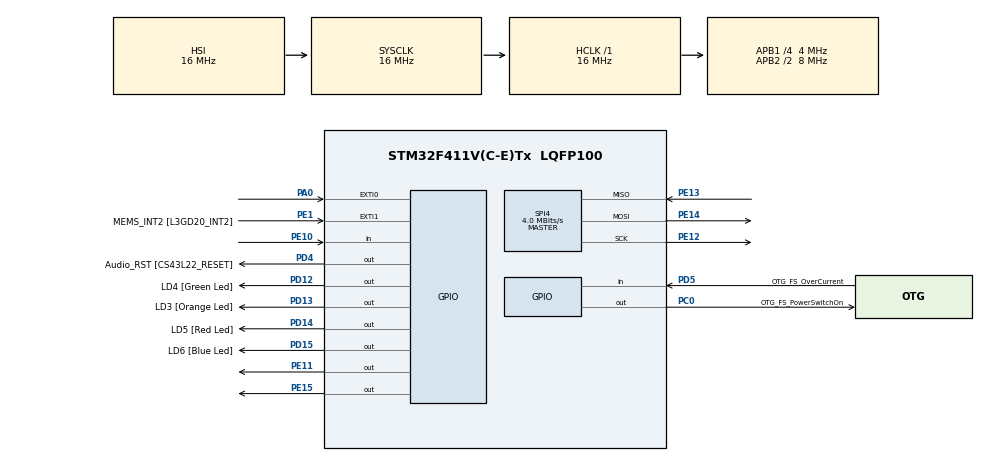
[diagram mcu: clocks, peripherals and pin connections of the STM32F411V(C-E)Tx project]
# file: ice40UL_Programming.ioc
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Mcu.Family=STM32F4
Mcu.Name=STM32F411V(C-E)Tx
Mcu.Package=LQFP100
NVIC.PriorityGroup=NVIC_PRIORITYGROUP_0
PA0-WKUP.GPIO_ModeDefaultEXTI=GPIO_MODE_EVT_RISING
PA0-WKUP.Signal=GPXTI0
PA10.GPIO_Label=OTG_FS_ID
PA10.Signal=USB_OTG_FS_ID
PA11.GPIO_Label=OTG_FS_DM
PA11.Signal=USB_OTG_FS_DM
PA12.GPIO_Label=OTG_FS_DP
PA12.Signal=USB_OTG_FS_DP
PA13.GPIO_Label=SWDIO
PA13.Mode=Serial_Wire
PA13.Signal=SYS_JTMS-SWDIO
PA14.GPIO_Label=SWCLK
PA14.Mode=Serial_Wire
PA14.Signal=SYS_JTCK-SWCLK
PA4.GPIO_Label=I2S3_WS [CS43L22_LRCK]
PA4.GPIO_Mode=GPIO_MODE_AF_PP
PA4.GPIO_PuPd=GPIO_NOPULL
PA4.GPIO_Speed=GPIO_SPEED_FREQ_LOW
PA4.Signal=I2S3_WS
PA5.GPIO_Label=SPI1_SCK [L3GD20_SC/SPC]
PA5.Signal=SPI1_SCK
PA6.GPIO_Label=SPI1_MISO [L3GD20_AS0/SDO]
PA6.Signal=SPI1_MISO
PA7.GPIO_Label=SPI1_MOSI [L3GD20_SDA/SDI/SDO]
PA7.Signal=SPI1_MOSI
PA9.GPIO_Label=VBUS_FS
PA9.Signal=USB_OTG_FS_VBUS
PB10.GPIO_Label=CLK_IN [MP45DT02_CLK]
PB10.Signal=I2S2_CK
PB12.Signal=I2S2_WS
PB3.GPIO_Label=SWO
PB3.Signal=SYS_JTDO-SWO
PB6.GPIO_Label=Audio_SCL [CS43L22_SCL]
PB6.GPIO_Mode=GPIO_MODE_AF_OD
PB6.GPIO_PuPd=GPIO_NOPULL
PB6.GPIO_Speed=GPIO_SPEED_FREQ_LOW
PB6.Signal=I2C1_SCL
PB9.GPIO_Label=Audio_SDA [CS43L22_SDA]
PB9.GPIO_Mode=GPIO_MODE_AF_OD
PB9.GPIO_PuPd=GPIO_NOPULL
PB9.GPIO_Speed=GPIO_SPEED_FREQ_LOW
PB9.Signal=I2C1_SDA
PC0.GPIO_Label=OTG_FS_PowerSwitchOn
PC0.PinState=GPIO_PIN_SET
PC0.Signal=GPIO_Output
PC10.GPIO_Label=I2S3_SCK [CS43L22_SCLK]
PC10.GPIO_Mode=GPIO_MODE_AF_PP
PC10.GPIO_PuPd=GPIO_NOPULL
PC10.GPIO_Speed=GPIO_SPEED_FREQ_LOW
PC10.Signal=I2S3_CK
PC12.GPIO_Label=I2S3_SD [CS43L22_SDIN]
PC12.GPIO_Mode=GPIO_MODE_AF_PP
PC12.GPIO_PuPd=GPIO_NOPULL
PC12.GPIO_Speed=GPIO_SPEED_FREQ_LOW
PC12.Signal=I2S3_SD
PC14-OSC32_IN.GPIO_Label=PC14-OSC32_IN
PC14-OSC32_IN.Signal=RCC_OSC32_IN
PC15-OSC32_OUT.GPIO_Label=PC15-OSC32_OUT
PC15-OSC32_OUT.Signal=RCC_OSC32_OUT
PC3.GPIO_Label=PDM_OUT [MP45DT02_DOUT]
PC3.Signal=I2S2_SD
PC7.GPIO_Label=I2S3_MCK [CS43L22_MCLK]
PC7.GPIO_Mode=GPIO_MODE_AF_PP
PC7.GPIO_PuPd=GPIO_NOPULL
PC7.GPIO_Speed=GPIO_SPEED_FREQ_LOW
PC7.Signal=I2S3_MCK
PD12.GPIO_Label=LD4 [Green Led]
PD12.GPIO_PuPd=GPIO_NOPULL
PD12.GPIO_Speed=GPIO_SPEED_FREQ_LOW
PD12.Signal=GPIO_Output
PD13.GPIO_Label=LD3 [Orange Led]
PD13.GPIO_PuPd=GPIO_NOPULL
PD13.GPIO_Speed=GPIO_SPEED_FREQ_LOW
PD13.Signal=GPIO_Output
PD14.GPIO_Label=LD5 [Red Led]
PD14.GPIO_PuPd=GPIO_NOPULL
PD14.GPIO_Speed=GPIO_SPEED_FREQ_LOW
PD14.Signal=GPIO_Output
PD15.GPIO_Label=LD6 [Blue Led]
PD15.GPIO_PuPd=GPIO_NOPULL
PD15.GPIO_Speed=GPIO_SPEED_FREQ_LOW
PD15.Signal=GPIO_Output
PD4.GPIO_Label=Audio_RST [CS43L22_RESET]
PD4.Signal=GPIO_Output
PD5.GPIO_Label=OTG_FS_OverCurrent
PD5.Signal=GPIO_Input
PE1.GPIO_Label=MEMS_INT2 [L3GD20_INT2]
PE1.GPIO_ModeDefaultEXTI=GPIO_MODE_EVT_RISING
PE1.Signal=GPXTI1
PE10.Signal=GPIO_Input
PE11.Signal=GPIO_Output
PE12.Mode=Full_Duplex_Master
PE12.Signal=SPI4_SCK
PE13.Mode=Full_Duplex_Master
PE13.Signal=SPI4_MISO
PE14.Mode=Full_Duplex_Master
PE14.Signal=SPI4_MOSI
PE15.Signal=GPIO_Output
PE2.Signal=SYS_TRACECLK
PE3.Signal=SYS_TRACED0
PE4.Signal=SYS_TRACED1
PE5.Signal=SYS_TRACED2
PH0\ -\ OSC_IN.GPIO_Label=PH0-OSC_IN
PH0\ -\ OSC_IN.Signal=RCC_OSC_IN
PH1\ -\ OSC_OUT.GPIO_Label=PH1-OSC_OUT
PH1\ -\ OSC_OUT.Signal=RCC_OSC_OUT
ProjectManager.HeapSize=0x200
ProjectManager.StackSize=0x400
ProjectManager.TargetToolchain=STM32CubeIDE
RCC.48MHZClocksFreq_Value=48000000
RCC.AHBFreq_Value=16000000
RCC.APB1CLKDivider=RCC_HCLK_DIV4
RCC.APB1Freq_Value=4000000
RCC.APB1TimFreq_Value=8000000
RCC.APB2CLKDivider=RCC_HCLK_DIV2
RCC.APB2Freq_Value=8000000
RCC.APB2TimFreq_Value=16000000
RCC.CortexFreq_Value=16000000
RCC.HCLKFreq_Value=16000000
RCC.HSE_VALUE=8000000
RCC.HSI_VALUE=16000000
RCC.LSE_VALUE=32768
RCC.PLLI2SM=5
RCC.PLLI2SN=200
RCC.PLLM=8
RCC.PLLP=RCC_PLLP_DIV4
RCC.PLLQ=8
RCC.SYSCLKFreq_VALUE=16000000
RCC.VCOOutputFreq_Value=384000000
SPI4.CalculateBaudRate=4.0 MBits/s
SPI4.Direction=SPI_DIRECTION_2LINES
SPI4.Mode=SPI_MODE_MASTER
SPI4.VirtualType=VM_MASTER
board=STM32F411E-DISCO

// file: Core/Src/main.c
/* USER CODE BEGIN Header */
/**
  ******************************************************************************
  * @file           : main.c
  * @brief          : Main program body
  ******************************************************************************
  * @attention
  *
  * Copyright (c) 2024 STMicroelectronics.
  * All rights reserved.
  *
  * This software is licensed under terms that can be found in the LICENSE file
  * in the root directory of this software component.
  * If no LICENSE file comes with this software, it is provided AS-IS.
  *
  ******************************************************************************
  */
/* USER CODE END Header */
#include "main.h"

/* USER CODE BEGIN Includes */
#include <stdio.h>
#include "data.h"
/* USER CODE END Includes */

SPI_HandleTypeDef hspi4;

void SystemClock_Config(void);
static void MX_GPIO_Init(void);
static void MX_SPI4_Init(void);

int main(void)
{

  /* MCU Configuration--------------------------------------------------------*/

  /* Reset of all peripherals, Initializes the Flash interface and the Systick. */
  HAL_Init();

  /* Configure the system clock */
  SystemClock_Config();

  /* Initialize all configured peripherals */
  MX_GPIO_Init();
  MX_SPI4_Init();

  /* Infinite loop */
  /* USER CODE BEGIN WHILE */
  while (1)
  {
	  //PE11 is CRESETB
	  //PE15 is CS
	  //PE10 start programming pin

	  uint8_t tx_data[1] = {0xFF};
	  GPIO_PinState pinState = HAL_GPIO_ReadPin(GPIOE, GPIO_PIN_10);
	  if (pinState==GPIO_PIN_SET){
		  printf("ice40 Programming is On-going....\n");
		   HAL_GPIO_WritePin(GPIOE, GPIO_PIN_15, GPIO_PIN_SET);
		   HAL_GPIO_WritePin(GPIOE, GPIO_PIN_11, GPIO_PIN_SET);
		   HAL_Delay(1);
		   HAL_GPIO_WritePin(GPIOE, GPIO_PIN_11, GPIO_PIN_RESET);// pull CRESET low
		   HAL_GPIO_WritePin(GPIOE, GPIO_PIN_15, GPIO_PIN_RESET);// pull CS low
		   HAL_Delay(1);
		   HAL_GPIO_WritePin(GPIOE, GPIO_PIN_11, GPIO_PIN_SET);// pull CRESET high
		   HAL_Delay(2);
		   HAL_GPIO_WritePin(GPIOE, GPIO_PIN_15, GPIO_PIN_SET); // pull CS high
		   HAL_SPI_Transmit(&hspi4, tx_data, sizeof(tx_data), HAL_MAX_DELAY); //send 8 clock cycles

		   HAL_GPIO_WritePin(GPIOE, GPIO_PIN_15, GPIO_PIN_RESET);// pull CS low
		   HAL_SPI_Transmit(&hspi4, g_pucDataArray, g_iDataSize, HAL_MAX_DELAY); // send data. STM32 driver automatically sends data by chunks
		   HAL_GPIO_WritePin(GPIOE, GPIO_PIN_15, GPIO_PIN_SET);// pull CS high after programming

		   for(int i=0;i<50;i++){ // send extra clock cycle for IO activation
			   HAL_SPI_Transmit(&hspi4, tx_data, sizeof(tx_data), HAL_MAX_DELAY);

		   }
		   printf("ice40 Programming finished successfully!\n");

		  break;
	  }

	  else{
		  printf("ice40 Programming is on hold\n");
		  HAL_Delay(1000);

	  }

  }

    /* USER CODE END WHILE */

}

void SystemClock_Config(void)
{
  RCC_OscInitTypeDef RCC_OscInitStruct = {0};
  RCC_ClkInitTypeDef RCC_ClkInitStruct = {0};

  /** Configure the main internal regulator output voltage
  */
  __HAL_RCC_PWR_CLK_ENABLE();
  __HAL_PWR_VOLTAGESCALING_CONFIG(PWR_REGULATOR_VOLTAGE_SCALE1);

  /** Initializes the RCC Oscillators according to the specified parameters
  * in the RCC_OscInitTypeDef structure.
  */
  RCC_OscInitStruct.OscillatorType = RCC_OSCILLATORTYPE_HSI;
  RCC_OscInitStruct.HSIState = RCC_HSI_ON;
  RCC_OscInitStruct.HSICalibrationValue = RCC_HSICALIBRATION_DEFAULT;
  RCC_OscInitStruct.PLL.PLLState = RCC_PLL_NONE;
  if (HAL_RCC_OscConfig(&RCC_OscInitStruct) != HAL_OK)
  {
    Error_Handler();
  }

  /** Initializes the CPU, AHB and APB buses clocks
  */
  RCC_ClkInitStruct.ClockType = RCC_CLOCKTYPE_HCLK|RCC_CLOCKTYPE_SYSCLK
                              |RCC_CLOCKTYPE_PCLK1|RCC_CLOCKTYPE_PCLK2;
  RCC_ClkInitStruct.SYSCLKSource = RCC_SYSCLKSOURCE_HSI;
  RCC_ClkInitStruct.AHBCLKDivider = RCC_SYSCLK_DIV1;
  RCC_ClkInitStruct.APB1CLKDivider = RCC_HCLK_DIV4;
  RCC_ClkInitStruct.APB2CLKDivider = RCC_HCLK_DIV2;

  if (HAL_RCC_ClockConfig(&RCC_ClkInitStruct, FLASH_LATENCY_0) != HAL_OK)
  {
    Error_Handler();
  }
}

static void MX_SPI4_Init(void)
{

  /* SPI4 parameter configuration*/
  hspi4.Instance = SPI4;
  hspi4.Init.Mode = SPI_MODE_MASTER;
  hspi4.Init.Direction = SPI_DIRECTION_2LINES;
  hspi4.Init.DataSize = SPI_DATASIZE_8BIT;
  hspi4.Init.CLKPolarity = SPI_POLARITY_LOW;
  hspi4.Init.CLKPhase = SPI_PHASE_1EDGE;
  hspi4.Init.NSS = SPI_NSS_SOFT;
  hspi4.Init.BaudRatePrescaler = SPI_BAUDRATEPRESCALER_2;
  hspi4.Init.FirstBit = SPI_FIRSTBIT_MSB;
  hspi4.Init.TIMode = SPI_TIMODE_DISABLE;
  hspi4.Init.CRCCalculation = SPI_CRCCALCULATION_DISABLE;
  hspi4.Init.CRCPolynomial = 10;
  if (HAL_SPI_Init(&hspi4) != HAL_OK)
  {
    Error_Handler();
  }

}

static void MX_GPIO_Init(void)
{
  GPIO_InitTypeDef GPIO_InitStruct = {0};

  /* GPIO Ports Clock Enable */
  __HAL_RCC_GPIOE_CLK_ENABLE();
  __HAL_RCC_GPIOC_CLK_ENABLE();
  __HAL_RCC_GPIOH_CLK_ENABLE();
  __HAL_RCC_GPIOA_CLK_ENABLE();
  __HAL_RCC_GPIOB_CLK_ENABLE();
  __HAL_RCC_GPIOD_CLK_ENABLE();

  /*Configure GPIO pin Output Level */
  HAL_GPIO_WritePin(OTG_FS_PowerSwitchOn_GPIO_Port, OTG_FS_PowerSwitchOn_Pin, GPIO_PIN_SET);

  /*Configure GPIO pin Output Level */
  HAL_GPIO_WritePin(GPIOE, GPIO_PIN_11|GPIO_PIN_15, GPIO_PIN_RESET);

  /*Configure GPIO pin Output Level */
  HAL_GPIO_WritePin(GPIOD, LD4_Pin|LD3_Pin|LD5_Pin|LD6_Pin
                          |Audio_RST_Pin, GPIO_PIN_RESET);

  /*Configure GPIO pin : OTG_FS_PowerSwitchOn_Pin */
  GPIO_InitStruct.Pin = OTG_FS_PowerSwitchOn_Pin;
  GPIO_InitStruct.Mode = GPIO_MODE_OUTPUT_PP;
  GPIO_InitStruct.Pull = GPIO_NOPULL;
  GPIO_InitStruct.Speed = GPIO_SPEED_FREQ_LOW;
  HAL_GPIO_Init(OTG_FS_PowerSwitchOn_GPIO_Port, &GPIO_InitStruct);

  /*Configure GPIO pin : PDM_OUT_Pin */
  GPIO_InitStruct.Pin = PDM_OUT_Pin;
  GPIO_InitStruct.Mode = GPIO_MODE_AF_PP;
  GPIO_InitStruct.Pull = GPIO_NOPULL;
  GPIO_InitStruct.Speed = GPIO_SPEED_FREQ_LOW;
  GPIO_InitStruct.Alternate = GPIO_AF5_SPI2;
  HAL_GPIO_Init(PDM_OUT_GPIO_Port, &GPIO_InitStruct);

  /*Configure GPIO pin : PA0 */
  GPIO_InitStruct.Pin = GPIO_PIN_0;
  GPIO_InitStruct.Mode = GPIO_MODE_EVT_RISING;
  GPIO_InitStruct.Pull = GPIO_NOPULL;
  HAL_GPIO_Init(GPIOA, &GPIO_InitStruct);

  /*Configure GPIO pin : I2S3_WS_Pin */
  GPIO_InitStruct.Pin = I2S3_WS_Pin;
  GPIO_InitStruct.Mode = GPIO_MODE_AF_PP;
  GPIO_InitStruct.Pull = GPIO_NOPULL;
  GPIO_InitStruct.Speed = GPIO_SPEED_FREQ_LOW;
  GPIO_InitStruct.Alternate = GPIO_AF6_SPI3;
  HAL_GPIO_Init(I2S3_WS_GPIO_Port, &GPIO_InitStruct);

  /*Configure GPIO pins : SPI1_SCK_Pin SPI1_MISO_Pin SPI1_MOSI_Pin */
  GPIO_InitStruct.Pin = SPI1_SCK_Pin|SPI1_MISO_Pin|SPI1_MOSI_Pin;
  GPIO_InitStruct.Mode = GPIO_MODE_AF_PP;
  GPIO_InitStruct.Pull = GPIO_NOPULL;
  GPIO_InitStruct.Speed = GPIO_SPEED_FREQ_VERY_HIGH;
  GPIO_InitStruct.Alternate = GPIO_AF5_SPI1;
  HAL_GPIO_Init(GPIOA, &GPIO_InitStruct);

  /*Configure GPIO pin : PE10 */
  GPIO_InitStruct.Pin = GPIO_PIN_10;
  GPIO_InitStruct.Mode = GPIO_MODE_INPUT;
  GPIO_InitStruct.Pull = GPIO_NOPULL;
  HAL_GPIO_Init(GPIOE, &GPIO_InitStruct);

  /*Configure GPIO pins : PE11 PE15 */
  GPIO_InitStruct.Pin = GPIO_PIN_11|GPIO_PIN_15;
  GPIO_InitStruct.Mode = GPIO_MODE_OUTPUT_PP;
  GPIO_InitStruct.Pull = GPIO_NOPULL;
  GPIO_InitStruct.Speed = GPIO_SPEED_FREQ_LOW;
  HAL_GPIO_Init(GPIOE, &GPIO_InitStruct);

  /*Configure GPIO pins : CLK_IN_Pin PB12 */
  GPIO_InitStruct.Pin = CLK_IN_Pin|GPIO_PIN_12;
  GPIO_InitStruct.Mode = GPIO_MODE_AF_PP;
  GPIO_InitStruct.Pull = GPIO_NOPULL;
  GPIO_InitStruct.Speed = GPIO_SPEED_FREQ_LOW;
  GPIO_InitStruct.Alternate = GPIO_AF5_SPI2;
  HAL_GPIO_Init(GPIOB, &GPIO_InitStruct);

  /*Configure GPIO pins : LD4_Pin LD3_Pin LD5_Pin LD6_Pin
                           Audio_RST_Pin */
  GPIO_InitStruct.Pin = LD4_Pin|LD3_Pin|LD5_Pin|LD6_Pin
                          |Audio_RST_Pin;
  GPIO_InitStruct.Mode = GPIO_MODE_OUTPUT_PP;
  GPIO_InitStruct.Pull = GPIO_NOPULL;
  GPIO_InitStruct.Speed = GPIO_SPEED_FREQ_LOW;
  HAL_GPIO_Init(GPIOD, &GPIO_InitStruct);

  /*Configure GPIO pins : I2S3_MCK_Pin I2S3_SCK_Pin I2S3_SD_Pin */
  GPIO_InitStruct.Pin = I2S3_MCK_Pin|I2S3_SCK_Pin|I2S3_SD_Pin;
  GPIO_InitStruct.Mode = GPIO_MODE_AF_PP;
  GPIO_InitStruct.Pull = GPIO_NOPULL;
  GPIO_InitStruct.Speed = GPIO_SPEED_FREQ_LOW;
  GPIO_InitStruct.Alternate = GPIO_AF6_SPI3;
  HAL_GPIO_Init(GPIOC, &GPIO_InitStruct);

  /*Configure GPIO pin : VBUS_FS_Pin */
  GPIO_InitStruct.Pin = VBUS_FS_Pin;
  GPIO_InitStruct.Mode = GPIO_MODE_INPUT;
  GPIO_InitStruct.Pull = GPIO_NOPULL;
  HAL_GPIO_Init(VBUS_FS_GPIO_Port, &GPIO_InitStruct);

  /*Configure GPIO pins : OTG_FS_ID_Pin OTG_FS_DM_Pin OTG_FS_DP_Pin */
  GPIO_InitStruct.Pin = OTG_FS_ID_Pin|OTG_FS_DM_Pin|OTG_FS_DP_Pin;
  GPIO_InitStruct.Mode = GPIO_MODE_AF_PP;
  GPIO_InitStruct.Pull = GPIO_NOPULL;
  GPIO_InitStruct.Speed = GPIO_SPEED_FREQ_VERY_HIGH;
  GPIO_InitStruct.Alternate = GPIO_AF10_OTG_FS;
  HAL_GPIO_Init(GPIOA, &GPIO_InitStruct);

  /*Configure GPIO pin : OTG_FS_OverCurrent_Pin */
  GPIO_InitStruct.Pin = OTG_FS_OverCurrent_Pin;
  GPIO_InitStruct.Mode = GPIO_MODE_INPUT;
  GPIO_InitStruct.Pull = GPIO_NOPULL;
  HAL_GPIO_Init(OTG_FS_OverCurrent_GPIO_Port, &GPIO_InitStruct);

  /*Configure GPIO pins : Audio_SCL_Pin Audio_SDA_Pin */
  GPIO_InitStruct.Pin = Audio_SCL_Pin|Audio_SDA_Pin;
  GPIO_InitStruct.Mode = GPIO_MODE_AF_OD;
  GPIO_InitStruct.Pull = GPIO_NOPULL;
  GPIO_InitStruct.Speed = GPIO_SPEED_FREQ_LOW;
  GPIO_InitStruct.Alternate = GPIO_AF4_I2C1;
  HAL_GPIO_Init(GPIOB, &GPIO_InitStruct);

  /*Configure GPIO pin : MEMS_INT2_Pin */
  GPIO_InitStruct.Pin = MEMS_INT2_Pin;
  GPIO_InitStruct.Mode = GPIO_MODE_EVT_RISING;
  GPIO_InitStruct.Pull = GPIO_NOPULL;
  HAL_GPIO_Init(MEMS_INT2_GPIO_Port, &GPIO_InitStruct);

}

void Error_Handler(void)
{
  __disable_irq();
  while (1)
  {
  }
}
